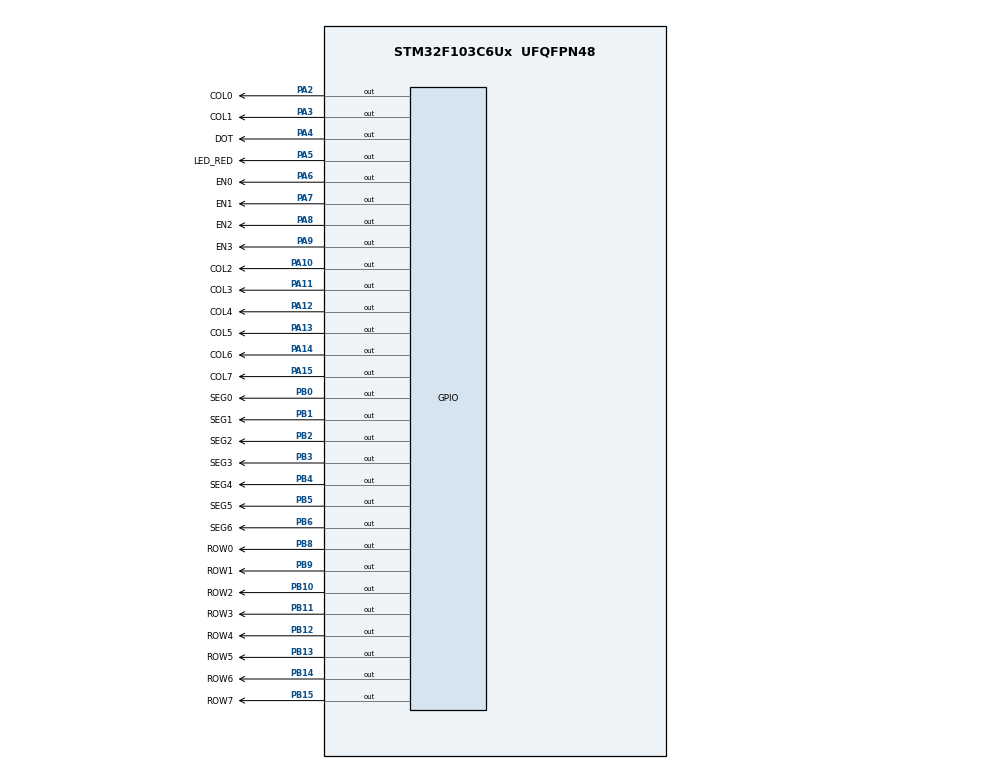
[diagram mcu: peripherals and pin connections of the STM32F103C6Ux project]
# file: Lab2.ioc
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Mcu.Family=STM32F1
Mcu.Name=STM32F103C6Ux
Mcu.Package=UFQFPN48
NVIC.PriorityGroup=NVIC_PRIORITYGROUP_4
NVIC.TIM2_IRQn=true\:0\:0\:false\:false\:true\:true\:true
PA10.GPIO_Label=COL2
PA10.Signal=GPIO_Output
PA11.GPIO_Label=COL3
PA11.Signal=GPIO_Output
PA12.GPIO_Label=COL4
PA12.Signal=GPIO_Output
PA13.GPIO_Label=COL5
PA13.Signal=GPIO_Output
PA14.GPIO_Label=COL6
PA14.Signal=GPIO_Output
PA15.GPIO_Label=COL7
PA15.Signal=GPIO_Output
PA2.GPIO_Label=COL0
PA2.Signal=GPIO_Output
PA3.GPIO_Label=COL1
PA3.Signal=GPIO_Output
PA4.GPIO_Label=DOT
PA4.Signal=GPIO_Output
PA5.GPIO_Label=LED_RED
PA5.Signal=GPIO_Output
PA6.GPIO_Label=EN0
PA6.Signal=GPIO_Output
PA7.GPIO_Label=EN1
PA7.Signal=GPIO_Output
PA8.GPIO_Label=EN2
PA8.Signal=GPIO_Output
PA9.GPIO_Label=EN3
PA9.Signal=GPIO_Output
PB0.GPIO_Label=SEG0
PB0.Signal=GPIO_Output
PB1.GPIO_Label=SEG1
PB1.Signal=GPIO_Output
PB10.GPIO_Label=ROW2
PB10.Signal=GPIO_Output
PB11.GPIO_Label=ROW3
PB11.Signal=GPIO_Output
PB12.GPIO_Label=ROW4
PB12.Signal=GPIO_Output
PB13.GPIO_Label=ROW5
PB13.Signal=GPIO_Output
PB14.GPIO_Label=ROW6
PB14.Signal=GPIO_Output
PB15.GPIO_Label=ROW7
PB15.Signal=GPIO_Output
PB2.GPIO_Label=SEG2
PB2.Signal=GPIO_Output
PB3.GPIO_Label=SEG3
PB3.Signal=GPIO_Output
PB4.GPIO_Label=SEG4
PB4.Signal=GPIO_Output
PB5.GPIO_Label=SEG5
PB5.Signal=GPIO_Output
PB6.GPIO_Label=SEG6
PB6.Signal=GPIO_Output
PB8.GPIO_Label=ROW0
PB8.Signal=GPIO_Output
PB9.GPIO_Label=ROW1
PB9.Signal=GPIO_Output
ProjectManager.HeapSize=0x200
ProjectManager.StackSize=0x400
ProjectManager.TargetToolchain=STM32CubeIDE
RCC.APB1Freq_Value=8000000
RCC.APB2Freq_Value=8000000
TIM2.Period=9
TIM2.Prescaler=7999
VP_SYS_VS_ND.Mode=No_Debug
VP_TIM2_VS_ClockSourceINT.Mode=Internal
board=custom

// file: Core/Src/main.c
/* USER CODE BEGIN Header */
/**
  ******************************************************************************
  * @file           : main.c
  * @brief          : Main program body
  ******************************************************************************
  * @attention
  *
  * <h2><center>&copy; Copyright (c) 2023 STMicroelectronics.
  * All rights reserved.</center></h2>
  *
  * This software component is licensed by ST under BSD 3-Clause license,
  * the "License"; You may not use this file except in compliance with the
  * License. You may obtain a copy of the License at:
  *                        opensource.org/licenses/BSD-3-Clause
  *
  ******************************************************************************
  */
/* USER CODE END Header */
#include "main.h"

/* USER CODE BEGIN Includes */
#include "software_timer.h"
/* USER CODE END Includes */

TIM_HandleTypeDef htim2;

void SystemClock_Config(void);
static void MX_GPIO_Init(void);
static void MX_TIM2_Init(void);

void display7SEG(int num){
	if(num == 0){
			HAL_GPIO_WritePin(SEG0_GPIO_Port, SEG0_Pin, RESET);
			HAL_GPIO_WritePin(SEG1_GPIO_Port, SEG1_Pin, RESET);
			HAL_GPIO_WritePin(SEG2_GPIO_Port, SEG2_Pin, RESET);
			HAL_GPIO_WritePin(SEG3_GPIO_Port, SEG3_Pin, RESET);
			HAL_GPIO_WritePin(SEG4_GPIO_Port, SEG4_Pin, RESET);
			HAL_GPIO_WritePin(SEG5_GPIO_Port, SEG5_Pin, RESET);
			HAL_GPIO_WritePin(SEG6_GPIO_Port, SEG6_Pin, SET);
		}
		else if(num == 1){
			HAL_GPIO_WritePin(SEG0_GPIO_Port, SEG0_Pin, SET);
			HAL_GPIO_WritePin(SEG1_GPIO_Port, SEG1_Pin, RESET);
			HAL_GPIO_WritePin(SEG2_GPIO_Port, SEG2_Pin, RESET);
			HAL_GPIO_WritePin(SEG3_GPIO_Port, SEG3_Pin, SET);
			HAL_GPIO_WritePin(SEG4_GPIO_Port, SEG4_Pin, SET);
			HAL_GPIO_WritePin(SEG5_GPIO_Port, SEG5_Pin, SET);
			HAL_GPIO_WritePin(SEG6_GPIO_Port, SEG6_Pin, SET);
		}
		else if(num == 2){
			HAL_GPIO_WritePin(SEG0_GPIO_Port, SEG0_Pin, RESET);
			HAL_GPIO_WritePin(SEG1_GPIO_Port, SEG1_Pin, RESET);
			HAL_GPIO_WritePin(SEG2_GPIO_Port, SEG2_Pin, SET);
			HAL_GPIO_WritePin(SEG3_GPIO_Port, SEG3_Pin, RESET);
			HAL_GPIO_WritePin(SEG4_GPIO_Port, SEG4_Pin, RESET);
			HAL_GPIO_WritePin(SEG5_GPIO_Port, SEG5_Pin, SET);
			HAL_GPIO_WritePin(SEG6_GPIO_Port, SEG6_Pin, RESET);
		}
		else if(num == 3){
			HAL_GPIO_WritePin(SEG0_GPIO_Port, SEG0_Pin, RESET);
			HAL_GPIO_WritePin(SEG1_GPIO_Port, SEG1_Pin, RESET);
			HAL_GPIO_WritePin(SEG2_GPIO_Port, SEG2_Pin, RESET);
			HAL_GPIO_WritePin(SEG3_GPIO_Port, SEG3_Pin, RESET);
			HAL_GPIO_WritePin(SEG4_GPIO_Port, SEG4_Pin, SET);
			HAL_GPIO_WritePin(SEG5_GPIO_Port, SEG5_Pin, SET);
			HAL_GPIO_WritePin(SEG6_GPIO_Port, SEG6_Pin, RESET);
		}
		else if(num == 4){
			HAL_GPIO_WritePin(SEG0_GPIO_Port, SEG0_Pin, SET);
			HAL_GPIO_WritePin(SEG1_GPIO_Port, SEG1_Pin, RESET);
			HAL_GPIO_WritePin(SEG2_GPIO_Port, SEG2_Pin, RESET);
			HAL_GPIO_WritePin(SEG3_GPIO_Port, SEG3_Pin, SET);
			HAL_GPIO_WritePin(SEG4_GPIO_Port, SEG4_Pin, SET);
			HAL_GPIO_WritePin(SEG5_GPIO_Port, SEG5_Pin, RESET);
			HAL_GPIO_WritePin(SEG6_GPIO_Port, SEG6_Pin, RESET);
		}
		else if(num == 5){
			HAL_GPIO_WritePin(SEG0_GPIO_Port, SEG0_Pin, RESET);
			HAL_GPIO_WritePin(SEG1_GPIO_Port, SEG1_Pin, SET);
			HAL_GPIO_WritePin(SEG2_GPIO_Port, SEG2_Pin, RESET);
			HAL_GPIO_WritePin(SEG3_GPIO_Port, SEG3_Pin, RESET);
			HAL_GPIO_WritePin(SEG4_GPIO_Port, SEG4_Pin, SET);
			HAL_GPIO_WritePin(SEG5_GPIO_Port, SEG5_Pin, RESET);
			HAL_GPIO_WritePin(SEG6_GPIO_Port, SEG6_Pin, RESET);
		}
		else if(num == 6){
			HAL_GPIO_WritePin(SEG0_GPIO_Port, SEG0_Pin, RESET);
			HAL_GPIO_WritePin(SEG1_GPIO_Port, SEG1_Pin, SET);
			HAL_GPIO_WritePin(SEG2_GPIO_Port, SEG2_Pin, RESET);
			HAL_GPIO_WritePin(SEG3_GPIO_Port, SEG3_Pin, RESET);
			HAL_GPIO_WritePin(SEG4_GPIO_Port, SEG4_Pin, RESET);
			HAL_GPIO_WritePin(SEG5_GPIO_Port, SEG5_Pin, RESET);
			HAL_GPIO_WritePin(SEG6_GPIO_Port, SEG6_Pin, RESET);
		}
		else if(num == 7){
			HAL_GPIO_WritePin(SEG0_GPIO_Port, SEG0_Pin, RESET);
			HAL_GPIO_WritePin(SEG1_GPIO_Port, SEG1_Pin, RESET);
			HAL_GPIO_WritePin(SEG2_GPIO_Port, SEG2_Pin, RESET);
			HAL_GPIO_WritePin(SEG3_GPIO_Port, SEG3_Pin, SET);
			HAL_GPIO_WritePin(SEG4_GPIO_Port, SEG4_Pin, SET);
			HAL_GPIO_WritePin(SEG5_GPIO_Port, SEG5_Pin, SET);
			HAL_GPIO_WritePin(SEG6_GPIO_Port, SEG6_Pin, SET);
		}
		else if(num == 8){
			HAL_GPIO_WritePin(SEG0_GPIO_Port, SEG0_Pin, RESET);
			HAL_GPIO_WritePin(SEG1_GPIO_Port, SEG1_Pin, RESET);
			HAL_GPIO_WritePin(SEG2_GPIO_Port, SEG2_Pin, RESET);
			HAL_GPIO_WritePin(SEG3_GPIO_Port, SEG3_Pin, RESET);
			HAL_GPIO_WritePin(SEG4_GPIO_Port, SEG4_Pin, RESET);
			HAL_GPIO_WritePin(SEG5_GPIO_Port, SEG5_Pin, RESET);
			HAL_GPIO_WritePin(SEG6_GPIO_Port, SEG6_Pin, RESET);
		}
		else if(num == 9){
			HAL_GPIO_WritePin(SEG0_GPIO_Port, SEG0_Pin, RESET);
			HAL_GPIO_WritePin(SEG1_GPIO_Port, SEG1_Pin, RESET);
			HAL_GPIO_WritePin(SEG2_GPIO_Port, SEG2_Pin, RESET);
			HAL_GPIO_WritePin(SEG3_GPIO_Port, SEG3_Pin, RESET);
			HAL_GPIO_WritePin(SEG4_GPIO_Port, SEG4_Pin, SET);
			HAL_GPIO_WritePin(SEG5_GPIO_Port, SEG5_Pin, RESET);
			HAL_GPIO_WritePin(SEG6_GPIO_Port, SEG6_Pin, RESET);
		}
}
int main(void)
{

  /* MCU Configuration--------------------------------------------------------*/

  /* Reset of all peripherals, Initializes the Flash interface and the Systick. */
  HAL_Init();

  /* Configure the system clock */
  SystemClock_Config();

  /* Initialize all configured peripherals */
  MX_GPIO_Init();
  MX_TIM2_Init();
  /* USER CODE BEGIN 2 */
  HAL_TIM_Base_Start_IT (& htim2 );
  /* USER CODE END 2 */

  /* Infinite loop */
  /* USER CODE BEGIN WHILE */
  int index_led = 0;
  int led_buffer[4] = {0, 0, 0, 0};
  void update7SEG(int index){
  	switch(index){
  		case 0:
  			HAL_GPIO_WritePin(EN0_GPIO_Port, EN0_Pin, RESET);
  			HAL_GPIO_WritePin(EN1_GPIO_Port, EN1_Pin, SET);
  			HAL_GPIO_WritePin(EN2_GPIO_Port, EN2_Pin, SET);
  			HAL_GPIO_WritePin(EN3_GPIO_Port, EN3_Pin, SET);
  			display7SEG(led_buffer[index]);
  			break;
  		case 1:
  			HAL_GPIO_WritePin(EN0_GPIO_Port, EN0_Pin, SET);
  			HAL_GPIO_WritePin(EN1_GPIO_Port, EN1_Pin, RESET);
  			HAL_GPIO_WritePin(EN2_GPIO_Port, EN2_Pin, SET);
  			HAL_GPIO_WritePin(EN3_GPIO_Port, EN3_Pin, SET);
  			display7SEG(led_buffer[index]);
  			break;
  		case 2:
  			HAL_GPIO_WritePin(EN0_GPIO_Port, EN0_Pin, SET);
  			HAL_GPIO_WritePin(EN1_GPIO_Port, EN1_Pin, SET);
  			HAL_GPIO_WritePin(EN2_GPIO_Port, EN2_Pin, RESET);
  			HAL_GPIO_WritePin(EN3_GPIO_Port, EN3_Pin, SET);
  			display7SEG(led_buffer[index]);
  			break;
  		case 3:
  			HAL_GPIO_WritePin(EN0_GPIO_Port, EN0_Pin, SET);
  			HAL_GPIO_WritePin(EN1_GPIO_Port, EN1_Pin, SET);
  			HAL_GPIO_WritePin(EN2_GPIO_Port, EN2_Pin, SET);
  			HAL_GPIO_WritePin(EN3_GPIO_Port, EN3_Pin, RESET);
  			display7SEG(led_buffer[index]);
  			break;
  	}
  }

  int hour = 15, minute = 8, second = 50;
  void updateClockBuffer(){
	  led_buffer[0] = hour / 10;
	  led_buffer[1] = hour % 10;
	  led_buffer[2] = minute / 10;
	  led_buffer[3] = minute % 10;
  }

//  const int MAX_LED_MATRIX = 8;
  int index_led_matrix = 0;
//  uint8_t matrix_buffer [8] = {0x01 , 0x02 , 0x03 , 0x04 , 0x05 , 0x06 , 0x07 , 0x08 };
  uint16_t matrix_buffer[8] = {0, ROW2_Pin|ROW3_Pin|ROW4_Pin|ROW5_Pin|ROW6_Pin|ROW7_Pin, ROW1_Pin|ROW2_Pin|ROW3_Pin|ROW4_Pin|ROW5_Pin|ROW6_Pin|ROW7_Pin, ROW0_Pin|ROW1_Pin|ROW4_Pin|ROW5_Pin, ROW0_Pin|ROW1_Pin|ROW4_Pin|ROW5_Pin, ROW1_Pin|ROW2_Pin|ROW3_Pin|ROW4_Pin|ROW5_Pin|ROW6_Pin|ROW7_Pin, ROW2_Pin|ROW3_Pin|ROW4_Pin|ROW5_Pin|ROW6_Pin|ROW7_Pin};
  void clearMaxtrix(){
	  HAL_GPIO_WritePin(ROW0_GPIO_Port, ROW0_Pin, SET);
	  HAL_GPIO_WritePin(ROW1_GPIO_Port, ROW1_Pin, SET);
	  HAL_GPIO_WritePin(ROW2_GPIO_Port, ROW2_Pin, SET);
	  HAL_GPIO_WritePin(ROW3_GPIO_Port, ROW3_Pin, SET);
	  HAL_GPIO_WritePin(ROW4_GPIO_Port, ROW4_Pin, SET);
	  HAL_GPIO_WritePin(ROW5_GPIO_Port, ROW5_Pin, SET);
	  HAL_GPIO_WritePin(ROW6_GPIO_Port, ROW6_Pin, SET);
	  HAL_GPIO_WritePin(ROW7_GPIO_Port, ROW7_Pin, SET);

	  HAL_GPIO_WritePin(COL0_GPIO_Port, COL0_Pin, SET);
	  HAL_GPIO_WritePin(COL1_GPIO_Port, COL1_Pin, SET);
	  HAL_GPIO_WritePin(COL2_GPIO_Port, COL2_Pin, SET);
	  HAL_GPIO_WritePin(COL3_GPIO_Port, COL3_Pin, SET);
	  HAL_GPIO_WritePin(COL4_GPIO_Port, COL4_Pin, SET);
	  HAL_GPIO_WritePin(COL5_GPIO_Port, COL5_Pin, SET);
	  HAL_GPIO_WritePin(COL6_GPIO_Port, COL6_Pin, SET);
	  HAL_GPIO_WritePin(COL7_GPIO_Port, COL7_Pin, SET);
 }
  void updateLEDMatrix (int index ){
	  clearMaxtrix();
	  switch ( index ){
	  	  case 0:
	  		  HAL_GPIO_WritePin(COL0_GPIO_Port, COL0_Pin, RESET);
	  		  HAL_GPIO_WritePin(GPIOB, matrix_buffer[index], RESET);
	  		  break ;
	  	  case 1:
	  		  HAL_GPIO_WritePin(COL1_GPIO_Port, COL1_Pin, RESET);
	  		  HAL_GPIO_WritePin(GPIOB, matrix_buffer[index], RESET);
	  		  break ;
	  	  case 2:
	  		  HAL_GPIO_WritePin(COL2_GPIO_Port, COL2_Pin, RESET);
	  		  HAL_GPIO_WritePin(GPIOB, matrix_buffer[index], RESET);
	  		  break ;
	  	  case 3:
	  		  HAL_GPIO_WritePin(COL3_GPIO_Port, COL3_Pin, RESET);
	  		  HAL_GPIO_WritePin(GPIOB, matrix_buffer[index], RESET);
	  		  break ;
	  	  case 4:
	  		  HAL_GPIO_WritePin(COL4_GPIO_Port, COL4_Pin, RESET);
	  		  HAL_GPIO_WritePin(GPIOB, matrix_buffer[index], RESET);
	  		  break ;
	  	  case 5:
	  		  HAL_GPIO_WritePin(COL5_GPIO_Port, COL5_Pin, RESET);
	  		  HAL_GPIO_WritePin(GPIOB, matrix_buffer[index], RESET);
	  		  break ;
	  	  case 6:
	  		  HAL_GPIO_WritePin(COL6_GPIO_Port, COL6_Pin, RESET);
	  		  HAL_GPIO_WritePin(GPIOB, matrix_buffer[index], RESET);
	  		  break ;
	  	  case 7:
	  		  HAL_GPIO_WritePin(COL7_GPIO_Port, COL7_Pin, RESET);
	  		  HAL_GPIO_WritePin(GPIOB, matrix_buffer[index], RESET);
	  		  break ;
	  	  default :
	  		  break ;
	  }
  }
  setTimer1(10);
  setTimer2(20);

  HAL_GPIO_WritePin(LED_RED_GPIO_Port, LED_RED_Pin, SET);
  HAL_GPIO_WritePin(DOT_GPIO_Port, DOT_Pin, SET);
  HAL_GPIO_WritePin(EN0_GPIO_Port, EN0_Pin, SET);
  HAL_GPIO_WritePin(EN1_GPIO_Port, EN1_Pin, SET);
  HAL_GPIO_WritePin(EN2_GPIO_Port, EN2_Pin, SET);
  HAL_GPIO_WritePin(EN3_GPIO_Port, EN3_Pin, SET);
  while (1)
  {
    /* USER CODE END WHILE */

	  if(timer1_flag == 1){
	  		  second++;
	  		  if(second >= 60){
	  			  second = 0;
	  			  minute++;
	  		  }
	  		  if(minute >= 60){
	  			  minute = 0;
	  			  hour++;
	  		  }
	  		  if(hour >= 24){
	  			  hour = 0;
	  		  }

	  		  updateClockBuffer();
	  		  update7SEG(index_led);
	  		  index_led++;
	  		  if(index_led >= 4)
	  			  index_led = 0;
	  		  HAL_GPIO_TogglePin(LED_RED_GPIO_Port, LED_RED_Pin);
	  		  HAL_GPIO_TogglePin(DOT_GPIO_Port, DOT_Pin);
	  		  setTimer1(10);
	  	  }

	  if(timer2_flag == 1){
		  updateLEDMatrix(index_led_matrix);
		  index_led_matrix++;
		  if(index_led_matrix >= 8){
			  index_led_matrix = 0;
		  }
		  setTimer2(20);
	  }

  }
}

void SystemClock_Config(void)
{
  RCC_OscInitTypeDef RCC_OscInitStruct = {0};
  RCC_ClkInitTypeDef RCC_ClkInitStruct = {0};

  /** Initializes the RCC Oscillators according to the specified parameters
  * in the RCC_OscInitTypeDef structure.
  */
  RCC_OscInitStruct.OscillatorType = RCC_OSCILLATORTYPE_HSI;
  RCC_OscInitStruct.HSIState = RCC_HSI_ON;
  RCC_OscInitStruct.HSICalibrationValue = RCC_HSICALIBRATION_DEFAULT;
  RCC_OscInitStruct.PLL.PLLState = RCC_PLL_NONE;
  if (HAL_RCC_OscConfig(&RCC_OscInitStruct) != HAL_OK)
  {
    Error_Handler();
  }
  /** Initializes the CPU, AHB and APB buses clocks
  */
  RCC_ClkInitStruct.ClockType = RCC_CLOCKTYPE_HCLK|RCC_CLOCKTYPE_SYSCLK
                              |RCC_CLOCKTYPE_PCLK1|RCC_CLOCKTYPE_PCLK2;
  RCC_ClkInitStruct.SYSCLKSource = RCC_SYSCLKSOURCE_HSI;
  RCC_ClkInitStruct.AHBCLKDivider = RCC_SYSCLK_DIV1;
  RCC_ClkInitStruct.APB1CLKDivider = RCC_HCLK_DIV1;
  RCC_ClkInitStruct.APB2CLKDivider = RCC_HCLK_DIV1;

  if (HAL_RCC_ClockConfig(&RCC_ClkInitStruct, FLASH_LATENCY_0) != HAL_OK)
  {
    Error_Handler();
  }
}

static void MX_TIM2_Init(void)
{

  TIM_ClockConfigTypeDef sClockSourceConfig = {0};
  TIM_MasterConfigTypeDef sMasterConfig = {0};

  htim2.Instance = TIM2;
  htim2.Init.Prescaler = 7999;
  htim2.Init.CounterMode = TIM_COUNTERMODE_UP;
  htim2.Init.Period = 9;
  htim2.Init.ClockDivision = TIM_CLOCKDIVISION_DIV1;
  htim2.Init.AutoReloadPreload = TIM_AUTORELOAD_PRELOAD_DISABLE;
  if (HAL_TIM_Base_Init(&htim2) != HAL_OK)
  {
    Error_Handler();
  }
  sClockSourceConfig.ClockSource = TIM_CLOCKSOURCE_INTERNAL;
  if (HAL_TIM_ConfigClockSource(&htim2, &sClockSourceConfig) != HAL_OK)
  {
    Error_Handler();
  }
  sMasterConfig.MasterOutputTrigger = TIM_TRGO_RESET;
  sMasterConfig.MasterSlaveMode = TIM_MASTERSLAVEMODE_DISABLE;
  if (HAL_TIMEx_MasterConfigSynchronization(&htim2, &sMasterConfig) != HAL_OK)
  {
    Error_Handler();
  }

}

static void MX_GPIO_Init(void)
{
  GPIO_InitTypeDef GPIO_InitStruct = {0};

  /* GPIO Ports Clock Enable */
  __HAL_RCC_GPIOA_CLK_ENABLE();
  __HAL_RCC_GPIOB_CLK_ENABLE();

  /*Configure GPIO pin Output Level */
  HAL_GPIO_WritePin(GPIOA, COL0_Pin|COL1_Pin|DOT_Pin|LED_RED_Pin
                          |EN0_Pin|EN1_Pin|EN2_Pin|EN3_Pin
                          |COL2_Pin|COL3_Pin|COL4_Pin|COL5_Pin
                          |COL6_Pin|COL7_Pin, GPIO_PIN_RESET);

  /*Configure GPIO pin Output Level */
  HAL_GPIO_WritePin(GPIOB, SEG0_Pin|SEG1_Pin|SEG2_Pin|ROW2_Pin
                          |ROW3_Pin|ROW4_Pin|ROW5_Pin|ROW6_Pin
                          |ROW7_Pin|SEG3_Pin|SEG4_Pin|SEG5_Pin
                          |SEG6_Pin|ROW0_Pin|ROW1_Pin, GPIO_PIN_RESET);

  /*Configure GPIO pins : COL0_Pin COL1_Pin DOT_Pin LED_RED_Pin
                           EN0_Pin EN1_Pin EN2_Pin EN3_Pin
                           COL2_Pin COL3_Pin COL4_Pin COL5_Pin
                           COL6_Pin COL7_Pin */
  GPIO_InitStruct.Pin = COL0_Pin|COL1_Pin|DOT_Pin|LED_RED_Pin
                          |EN0_Pin|EN1_Pin|EN2_Pin|EN3_Pin
                          |COL2_Pin|COL3_Pin|COL4_Pin|COL5_Pin
                          |COL6_Pin|COL7_Pin;
  GPIO_InitStruct.Mode = GPIO_MODE_OUTPUT_PP;
  GPIO_InitStruct.Pull = GPIO_NOPULL;
  GPIO_InitStruct.Speed = GPIO_SPEED_FREQ_LOW;
  HAL_GPIO_Init(GPIOA, &GPIO_InitStruct);

  /*Configure GPIO pins : SEG0_Pin SEG1_Pin SEG2_Pin ROW2_Pin
                           ROW3_Pin ROW4_Pin ROW5_Pin ROW6_Pin
                           ROW7_Pin SEG3_Pin SEG4_Pin SEG5_Pin
                           SEG6_Pin ROW0_Pin ROW1_Pin */
  GPIO_InitStruct.Pin = SEG0_Pin|SEG1_Pin|SEG2_Pin|ROW2_Pin
                          |ROW3_Pin|ROW4_Pin|ROW5_Pin|ROW6_Pin
                          |ROW7_Pin|SEG3_Pin|SEG4_Pin|SEG5_Pin
                          |SEG6_Pin|ROW0_Pin|ROW1_Pin;
  GPIO_InitStruct.Mode = GPIO_MODE_OUTPUT_PP;
  GPIO_InitStruct.Pull = GPIO_NOPULL;
  GPIO_InitStruct.Speed = GPIO_SPEED_FREQ_LOW;
  HAL_GPIO_Init(GPIOB, &GPIO_InitStruct);

}

/* USER CODE BEGIN 4 */
void HAL_TIM_PeriodElapsedCallback ( TIM_HandleTypeDef * htim )
{
	timerRun();
}
/* USER CODE END 4 */

void Error_Handler(void)
{
  __disable_irq();
  while (1)
  {
  }
}

/************************ (C) COPYRIGHT STMicroelectronics *****END OF FILE****/
